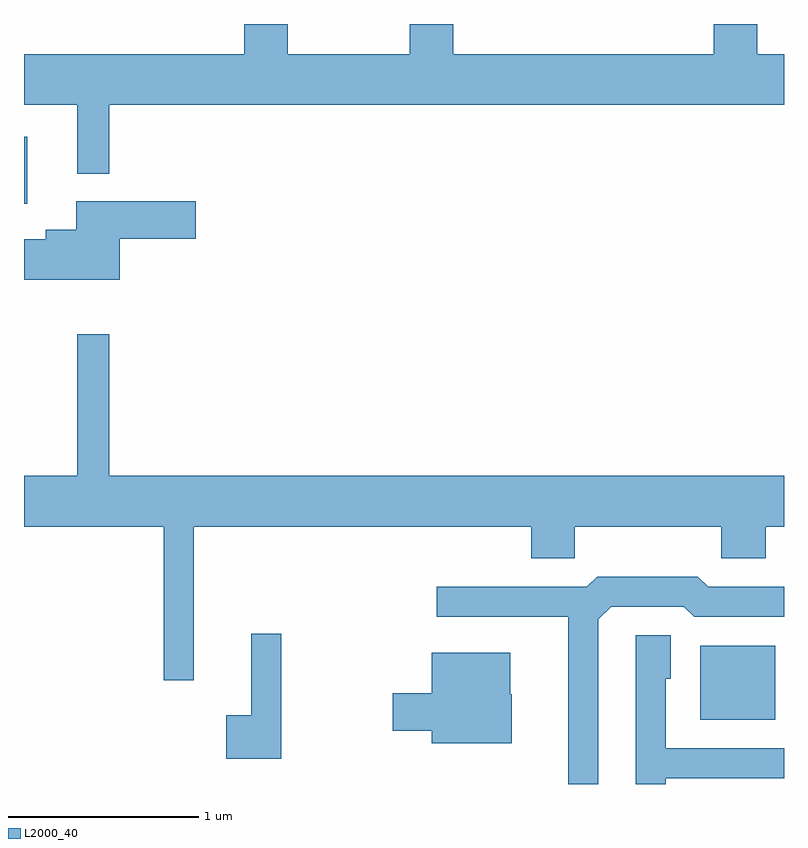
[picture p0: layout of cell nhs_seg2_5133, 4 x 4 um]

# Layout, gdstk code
import gdstk
lib = gdstk.Library(unit=1e-6, precision=1e-09)
def R(c, l, rs):  # rectangles x0, y0, x1, y1
    for r in rs: c.add(gdstk.rectangle(r[:2], r[2:], *l))
def P(c, l, *ps):  # polygons
    for p in ps: c.add(gdstk.Polygon(p, *l))
L2000_40 = (2000, 40)

nhs_seg2_5133 = lib.new_cell('nhs_seg2_5133')
R(nhs_seg2_5133, L2000_40, [(339.171,1096.141,339.564,1096.529), (335.611,1098.856,335.629,1099.209)])
P(nhs_seg2_5133, L2000_40, [(336.059,1099.376),(339.611,1099.376),(339.611,1099.644),(339.469,1099.644),(339.469,1099.802),(339.241,1099.802),(339.241,1099.644),(337.869,1099.644),(337.869,1099.802),(337.641,1099.802),(337.641,1099.644),(336.999,1099.644),(336.999,1099.802),(336.771,1099.802),(336.771,1099.644),(335.611,1099.644),(335.611,1099.376),(335.891,1099.376),(335.891,1099.013),(336.059,1099.013)],
  [(336.114,1098.671),(336.514,1098.671),(336.514,1098.869),(335.886,1098.869),(335.886,1098.719),(335.726,1098.719),(335.726,1098.669),(335.611,1098.669),(335.611,1098.456),(336.114,1098.456)],
  [(336.504,1097.156),(338.281,1097.156),(338.281,1096.991),(338.509,1096.991),(338.509,1097.156),(339.281,1097.156),(339.281,1096.991),(339.514,1096.991),(339.514,1097.156),(339.611,1097.156),(339.611,1097.424),(336.059,1097.424),(336.059,1098.168),(335.891,1098.168),(335.891,1097.424),(335.611,1097.424),(335.611,1097.156),(336.346,1097.156),(336.346,1096.348),(336.504,1096.348)],
  [(338.634,1096.669),(338.702,1096.736),(339.084,1096.736),(339.139,1096.681),(339.611,1096.681),(339.611,1096.839),(339.212,1096.839),(339.157,1096.894),(338.629,1096.894),(338.574,1096.839),(337.783,1096.839),(337.783,1096.681),(338.476,1096.681),(338.476,1095.802),(338.634,1095.802)],
  [(336.964,1096.593),(336.806,1096.593),(336.806,1096.164),(336.676,1096.164),(336.676,1095.936),(336.964,1095.936)],
  [(338.989,1095.831),(339.611,1095.831),(339.611,1095.989),(338.989,1095.989),(338.989,1096.356),(339.014,1096.356),(339.014,1096.584),(338.831,1096.584),(338.831,1095.802),(338.989,1095.802)],
  [(338.179,1096.275),(338.169,1096.275),(338.169,1096.494),(337.756,1096.494),(337.756,1096.279),(337.551,1096.279),(337.551,1096.081),(337.756,1096.081),(337.756,1096.016),(338.179,1096.016)])

lib.write_gds('nhs_seg2_5133.gds')
